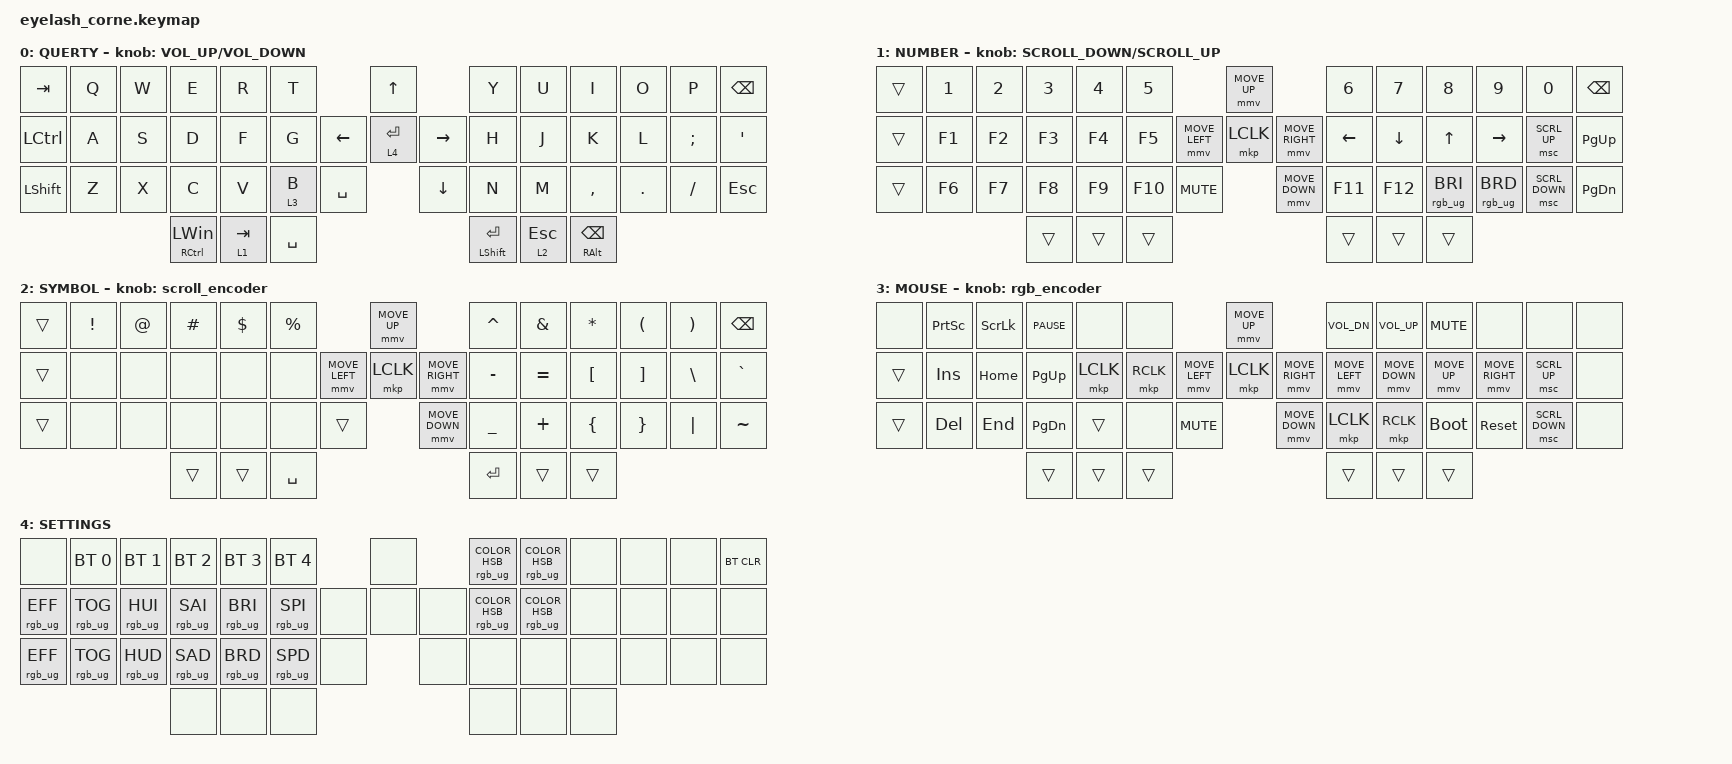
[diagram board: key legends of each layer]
#include <dt-bindings/zmk/mouse.h>
#include <input/processors.dtsi>
#include <behaviors.dtsi>
#include <dt-bindings/zmk/bt.h>
#include <dt-bindings/zmk/keys.h>
#include <dt-bindings/zmk/pointing.h>
#include <dt-bindings/zmk/pointing.h>
#include <dt-bindings/zmk/pointing.h>
#include <dt-bindings/zmk/rgb.h>

/*

   &mmv_input_listener {
       input-processors = <&zip_xy_scaler 2 1>;
   };

   &msc_input_listener {
       input-processors = <&zip_xy_scaler 2 1>;
   };

 */

#define ZMK_MOUSE_DEFAULT_MOVE_VAL 1200  // 600
#define ZMK_MOUSE_DEFAULT_SCRL_VAL 20    // 10

/ {
    behaviors {
        td0: td0 {
            compatible = "zmk,behavior-tap-dance";
            display-name = "Shift/Caps Lock Tap Dance";
            #binding-cells = <0>;
            bindings = <&kp ENTER>, <&kp LEFT_SHIFT>;

            tapping-term-ms = <150>;
        };

        HT1: HT1 {
            compatible = "zmk,behavior-hold-tap";
            label = "HT1";
            bindings = <&kp>, <&kp>;

            #binding-cells = <2>;
            tapping-term-ms = <150>;
        };
    };

    rgb_encoder: rgb_encoder {
        compatible = "zmk,behavior-sensor-rotate";
        #sensor-binding-cells = <0>;
        bindings = <&rgb_ug RGB_BRI>, <&rgb_ug RGB_BRD>;
    };

    scroll_encoder: scroll_encoder {
        compatible = "zmk,behavior-sensor-rotate";
        #sensor-binding-cells = <0>;
        bindings = <&msc SCRL_DOWN>, <&msc SCRL_UP>;

        tap-ms = <30>;
    };

    keymap {
        compatible = "zmk,keymap";

        default_layer {
            display-name = "QUERTY";
            bindings = <
&kp TAB           &kp Q  &kp W  &kp E                &kp R      &kp T                             &kp UP                  &kp Y                  &kp U      &kp I                     &kp O    &kp P     &kp BSPC
&kp LEFT_CONTROL  &kp A  &kp S  &kp D                &kp F      &kp G                   &kp LEFT  &lt 4 ENTER  &kp RIGHT  &kp H                  &kp J      &kp K                     &kp L    &kp SEMI  &kp SQT
&kp LEFT_SHIFT    &kp Z  &kp X  &kp C                &kp V      &lt 3 B    &kp SPACE              &kp DOWN                &kp N                  &kp M      &kp COMMA                 &kp DOT  &kp FSLH  &kp ESC
                                &HT1 RCTRL LEFT_WIN  &lt 1 TAB  &kp SPACE                                                 &HT1 LEFT_SHIFT ENTER  &lt 2 ESC  &HT1 RIGHT_ALT BACKSPACE
            >;

            sensor-bindings = <&inc_dec_kp C_VOLUME_UP C_VOLUME_DOWN>;
        };

        lower_layer {
            display-name = "NUMBER";
            bindings = <
&trans  &kp N1  &kp N2  &kp N3  &kp N4  &kp N5                                 &mmv MOVE_UP                     &kp N6    &kp N7    &kp N8           &kp N9           &kp N0          &kp BSPC
&trans  &kp F1  &kp F2  &kp F3  &kp F4  &kp F5                 &mmv MOVE_LEFT  &mkp LCLK       &mmv MOVE_RIGHT  &kp LEFT  &kp DOWN  &kp UP           &kp RIGHT        &msc SCRL_UP    &kp PG_UP
&trans  &kp F6  &kp F7  &kp F8  &kp F9  &kp F10  &kp C_MUTE                    &mmv MOVE_DOWN                   &kp F11   &kp F12   &rgb_ug RGB_BRI  &rgb_ug RGB_BRD  &msc SCRL_DOWN  &kp PG_DN
                        &trans  &trans  &trans                                                                  &trans    &trans    &trans
            >;

            sensor-bindings = <&inc_dec_kp K_SCROLL_DOWN K_SCROLL_UP>;
        };

        raise_layer {
            display-name = "SYMBOL";
            bindings = <
&trans  &kp EXCL  &kp AT  &kp HASH  &kp DLLR  &kp PRCNT                            &mmv MOVE_UP                     &kp CARET  &kp AMPS   &kp ASTRK  &kp LPAR  &kp RPAR  &kp BSPC
&trans  &none     &none   &none     &none     &none                &mmv MOVE_LEFT  &mkp LCLK       &mmv MOVE_RIGHT  &kp MINUS  &kp EQUAL  &kp LBKT   &kp RBKT  &kp BSLH  &kp GRAVE
&trans  &none     &none   &none     &none     &none      &trans                    &mmv MOVE_DOWN                   &kp UNDER  &kp PLUS   &kp LBRC   &kp RBRC  &kp PIPE  &kp TILDE
                          &trans    &trans    &kp SPACE                                                             &kp RET    &trans     &trans
            >;

            sensor-bindings = <&scroll_encoder>;
        };

        layer_3 {
            display-name = "MOUSE";
            bindings = <
&none   &kp PRINTSCREEN  &kp SCROLLLOCK  &kp C_PAUSE    &none      &none                                    &mmv MOVE_UP                     &kp C_VOL_DN    &kp C_VOL_UP    &kp K_MUTE    &none            &none           &none
&trans  &kp INS          &kp HOME        &kp PAGE_UP    &mkp LCLK  &mkp RCLK                &mmv MOVE_LEFT  &mkp LCLK       &mmv MOVE_RIGHT  &mmv MOVE_LEFT  &mmv MOVE_DOWN  &mmv MOVE_UP  &mmv MOVE_RIGHT  &msc SCRL_UP    &none
&trans  &kp DEL          &kp END         &kp PAGE_DOWN  &trans     &none      &kp C_MUTE                    &mmv MOVE_DOWN                   &mkp LCLK       &mkp RCLK       &bootloader   &sys_reset       &msc SCRL_DOWN  &none
                                         &trans         &trans     &trans                                                                    &trans          &trans          &trans
            >;

            sensor-bindings = <&rgb_encoder>;
        };

        Setting {
            display-name = "SETTINGS";
            bindings = <
&none            &bt BT_SEL 0     &bt BT_SEL 1     &bt BT_SEL 2     &bt BT_SEL 3     &bt BT_SEL 4                     &none         &rgb_ug RGB_COLOR_HSB(62,56,62)  &rgb_ug RGB_COLOR_HSB(305,97,48)  &none  &none  &none  &bt BT_CLR
&rgb_ug RGB_EFF  &rgb_ug RGB_TOG  &rgb_ug RGB_HUI  &rgb_ug RGB_SAI  &rgb_ug RGB_BRI  &rgb_ug RGB_SPI           &none  &none  &none  &rgb_ug RGB_COLOR_HSB(0,93,49)   &rgb_ug RGB_COLOR_HSB(112,90,48)  &none  &none  &none  &none
&rgb_ug RGB_EFF  &rgb_ug RGB_TOG  &rgb_ug RGB_HUD  &rgb_ug RGB_SAD  &rgb_ug RGB_BRD  &rgb_ug RGB_SPD  &none           &none         &none                            &none                             &none  &none  &none  &none
                                                   &none            &none            &none                                          &none                            &none                             &none
            >;
        };
    };
};
